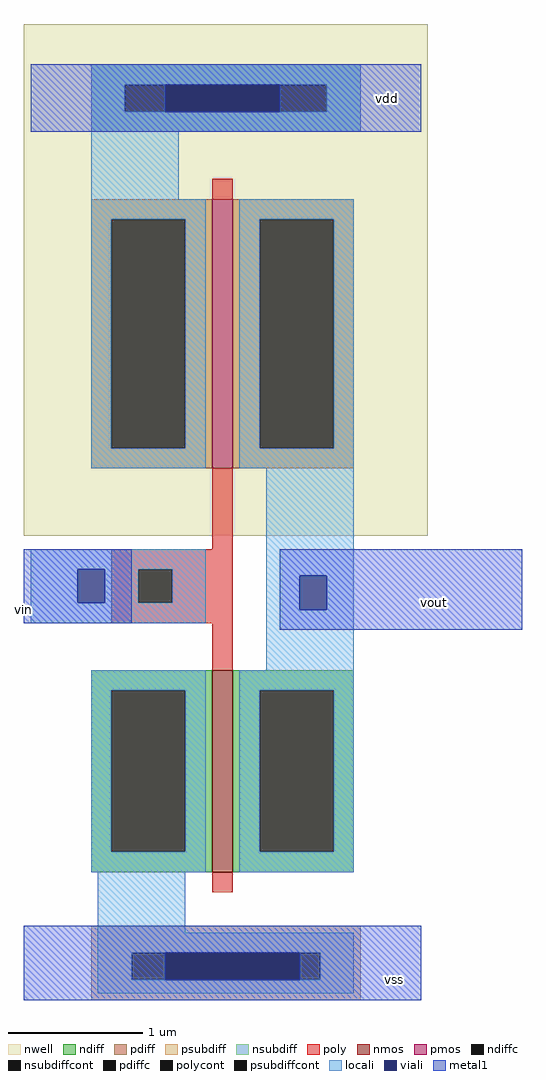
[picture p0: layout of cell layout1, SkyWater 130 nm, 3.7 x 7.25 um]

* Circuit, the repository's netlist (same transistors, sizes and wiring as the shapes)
* SPICE3 file created from layout1.ext - technology: sky130A

X0 vout vin vss vss sky130_fd_pr__nfet_01v8 ad=1.35 pd=4.8 as=1.35 ps=4.8 w=1.5 l=0.15
X1 vout vin vdd vdd sky130_fd_pr__pfet_01v8 ad=1.8 pd=5.8 as=1.8 ps=5.8 w=2 l=0.15

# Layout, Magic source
magic
tech sky130A
<< nwell >>
rect -350 0 -50 380
<< nmos >>
rect -210 -250 -195 -100
<< pmos >>
rect -210 50 -195 250
<< ndiff >>
rect -300 -115 -210 -100
rect -300 -235 -285 -115
rect -230 -235 -210 -115
rect -300 -250 -210 -235
rect -195 -115 -105 -100
rect -195 -235 -175 -115
rect -120 -235 -105 -115
rect -195 -250 -105 -235
<< pdiff >>
rect -300 235 -210 250
rect -300 65 -285 235
rect -230 65 -210 235
rect -300 50 -210 65
rect -195 235 -105 250
rect -195 65 -175 235
rect -120 65 -105 235
rect -195 50 -105 65
<< ndiffc >>
rect -285 -235 -230 -115
rect -175 -235 -120 -115
<< pdiffc >>
rect -285 65 -230 235
rect -175 65 -120 235
<< psubdiff >>
rect -300 -310 -100 -290
rect -300 -330 -270 -310
rect -130 -330 -100 -310
rect -300 -345 -100 -330
<< nsubdiff >>
rect -300 335 -100 350
rect -300 315 -275 335
rect -125 315 -100 335
rect -300 300 -100 315
<< psubdiffcont >>
rect -270 -330 -130 -310
<< nsubdiffcont >>
rect -275 315 -125 335
<< poly >>
rect -210 250 -195 265
rect -210 -10 -195 50
rect -285 -25 -195 -10
rect -285 -50 -265 -25
rect -240 -50 -195 -25
rect -285 -65 -195 -50
rect -210 -100 -195 -65
rect -210 -265 -195 -250
<< polycont >>
rect -265 -50 -240 -25
<< locali >>
rect -300 335 -100 350
rect -300 315 -275 335
rect -125 315 -100 335
rect -300 300 -100 315
rect -300 250 -235 300
rect -300 235 -215 250
rect -300 65 -285 235
rect -230 65 -215 235
rect -300 50 -215 65
rect -190 235 -105 250
rect -190 65 -175 235
rect -120 65 -105 235
rect -190 50 -105 65
rect -345 -25 -215 -10
rect -345 -50 -310 -25
rect -290 -50 -265 -25
rect -240 -50 -215 -25
rect -345 -65 -215 -50
rect -170 -30 -105 50
rect -170 -55 -145 -30
rect -125 -55 -105 -30
rect -170 -100 -105 -55
rect -300 -115 -215 -100
rect -300 -235 -285 -115
rect -230 -235 -215 -115
rect -300 -250 -215 -235
rect -190 -115 -105 -100
rect -190 -235 -175 -115
rect -120 -235 -105 -115
rect -190 -250 -105 -235
rect -295 -295 -230 -250
rect -295 -310 -105 -295
rect -295 -330 -270 -310
rect -130 -330 -105 -310
rect -295 -340 -105 -330
<< viali >>
rect -245 315 -160 335
rect -310 -50 -290 -25
rect -145 -55 -125 -30
rect -245 -330 -145 -310
<< metal1 >>
rect -345 335 -55 350
rect -345 315 -245 335
rect -160 315 -55 335
rect -345 300 -55 315
rect -350 -25 -270 -10
rect -350 -50 -310 -25
rect -290 -50 -270 -25
rect -350 -65 -270 -50
rect -160 -30 20 -10
rect -160 -55 -145 -30
rect -125 -55 20 -30
rect -160 -70 20 -55
rect -350 -310 -55 -290
rect -350 -330 -245 -310
rect -145 -330 -55 -310
rect -350 -345 -55 -330
<< labels >>
rlabel metal1 -350 -55 -350 -55 3 vin
rlabel metal1 -45 -50 -45 -50 1 vout
rlabel metal1 -75 -330 -75 -330 1 vss
rlabel metal1 -80 325 -80 325 1 vdd
<< end >>
